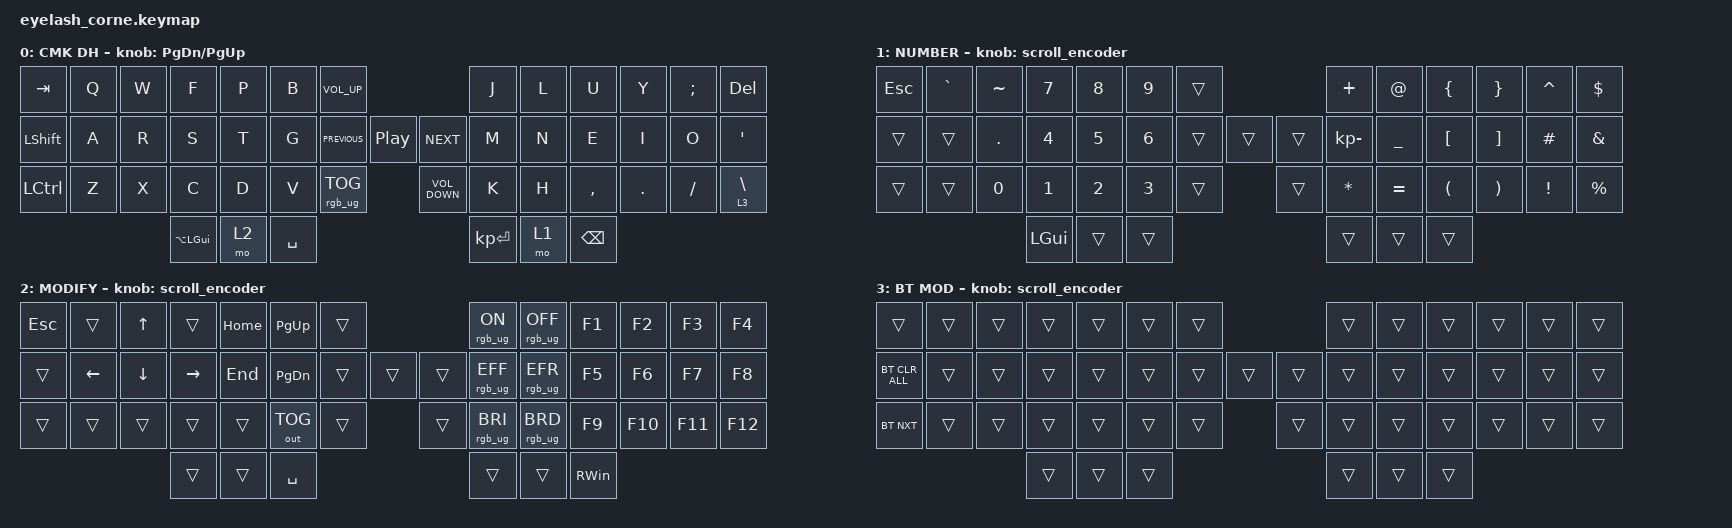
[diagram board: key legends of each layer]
#define ZMK_POINTING_DEFAULT_MOVE_VAL 1200  // 600
#define ZMK_POINTING_DEFAULT_SCRL_VAL 25   // 10

#include <input/processors.dtsi>
#include <zephyr/dt-bindings/input/input-event-codes.h>
#include <behaviors.dtsi>
#include <dt-bindings/zmk/bt.h>
#include <dt-bindings/zmk/ext_power.h>
#include <dt-bindings/zmk/keys.h>
#include <dt-bindings/zmk/outputs.h>
#include <dt-bindings/zmk/pointing.h>
#include <dt-bindings/zmk/rgb.h>

&mmv_input_listener { input-processors = <&zip_xy_scaler 2 1>; };

&msc_input_listener { input-processors = <&zip_scroll_scaler 2 1>; };

&msc {
    acceleration-exponent = <1>;      // 0
    time-to-max-speed-ms = <100>;       // 300
    delay-ms = <0>;                   // 0
};

&mmv {
    time-to-max-speed-ms = <500>;
    acceleration-exponent = <1>;
    trigger-period-ms = <16>;
};


/ {
    behaviors {
        td0: td0 {
            compatible = "zmk,behavior-tap-dance";
            display-name = "Shift/Caps Lock Tap Dance";
            #binding-cells = <0>;
            bindings = <&kp LEFT_SHIFT>, <&kp CAPS>;
        };
    };

    rgb_encoder: rgb_encoder {
        compatible = "zmk,behavior-sensor-rotate";
        #sensor-binding-cells = <0>;
        bindings = <&rgb_ug RGB_BRI>, <&rgb_ug RGB_BRD>;
    };

    scroll_encoder: scroll_encoder {
        compatible = "zmk,behavior-sensor-rotate";
        #sensor-binding-cells = <0>;
        bindings = <&msc SCRL_DOWN>, <&msc SCRL_UP>;
        tap-ms = <100>;
    };

    keymap {
        compatible = "zmk,keymap";

        default_layer {
            display-name = "CMK DH";
            bindings = <
&kp TAB           &kp Q  &kp W  &kp F         &kp P  &kp B                                  &kp C_VOLUME_UP                             &kp J         &kp L  &kp U          &kp Y    &kp SEMI  &kp DEL
&kp LEFT_SHIFT    &kp A  &kp R  &kp S         &kp T  &kp G                          &kp C_PREVIOUS  &kp C_PLAY_PAUSE  &kp C_NEXT        &kp M         &kp N  &kp E          &kp I    &kp O     &kp SQT
&kp LEFT_CONTROL  &kp Z  &kp X  &kp C         &kp D  &kp V       &rgb_ug RGB_TOG            &kp C_VOLUME_DOWN                          &kp K         &kp H  &kp COMMA      &kp DOT  &kp FSLH  &lt 3 BACKSLASH
                             &kp LA(LGUI)  &mo 2  &kp SPACE                                                                             &kp KP_ENTER  &mo 1  &kp BACKSPACE
            >;
            sensor-bindings = <&inc_dec_kp PAGE_DOWN PAGE_UP>;
        };

        lower_layer {
            display-name = "NUMBER";
            bindings = <
&kp ESCAPE  &kp GRAVE  &kp TILDE        &kp NUMBER_7  &kp NUMBER_8  &kp NUMBER_9                    &trans             &kp PLUS      &kp AT_SIGN     &kp LEFT_BRACE        &kp RIGHT_BRACE        &kp CARET        &kp DOLLAR
&trans      &trans     &kp PERIOD       &kp NUMBER_4  &kp NUMBER_5  &kp NUMBER_6           &trans   &trans   &trans    &kp KP_MINUS  &kp UNDERSCORE  &kp LEFT_BRACKET      &kp RIGHT_BRACKET      &kp HASH         &kp AMPERSAND
&trans      &trans     &kp NUMBER_0     &kp NUMBER_1  &kp NUMBER_2  &kp NUMBER_3   &trans           &trans             &kp ASTERISK  &kp EQUAL    &kp LEFT_PARENTHESIS  &kp RIGHT_PARENTHESIS  &kp EXCLAMATION  &kp PERCENT
                                            &kp LEFT_GUI     &trans           &trans                                                &trans        &trans          &trans
            >;
            sensor-bindings = <&scroll_encoder>;
        };

        raise_layer {
            display-name = "MODIFY";
            bindings = <
&kp ESC  &trans          &kp UP_ARROW    &trans           &kp HOME  &kp PAGE_UP                      &trans             &rgb_ug RGB_ON   &rgb_ug RGB_OFF  &kp F1         &kp F2   &kp F3   &kp F4
&trans   &kp LEFT_ARROW  &kp DOWN_ARROW  &kp RIGHT_ARROW  &kp END   &kp PAGE_DOWN           &trans   &trans   &trans    &rgb_ug RGB_EFF  &rgb_ug RGB_EFR  &kp F5         &kp F6   &kp F7   &kp F8
&trans   &trans          &trans          &trans           &trans    &out OUT_TOG    &trans           &trans             &rgb_ug RGB_BRI  &rgb_ug RGB_BRD  &kp F9         &kp F10  &kp F11  &kp F12
                                         &trans           &trans    &kp SPACE                                           &trans           &trans           &kp RIGHT_WIN
            >;
            sensor-bindings = <&scroll_encoder>;
        };

        layer_3 {
            display-name = "BT MOD";
            bindings = <
&trans  &trans  &trans  &trans  &trans  &trans                    &trans            &trans  &trans  &trans  &trans  &trans  &trans
&bt BT_CLR_ALL  &trans  &trans  &trans  &trans  &trans           &trans   &trans   &trans   &trans  &trans  &trans  &trans  &trans  &trans
&bt BT_NXT  &trans  &trans  &trans  &trans  &trans    &trans          &trans            &trans  &trans  &trans  &trans  &trans  &trans
                        &trans  &trans  &trans                                      &trans  &trans  &trans
            >;
            sensor-bindings = <&scroll_encoder>;
        };
    };
};
